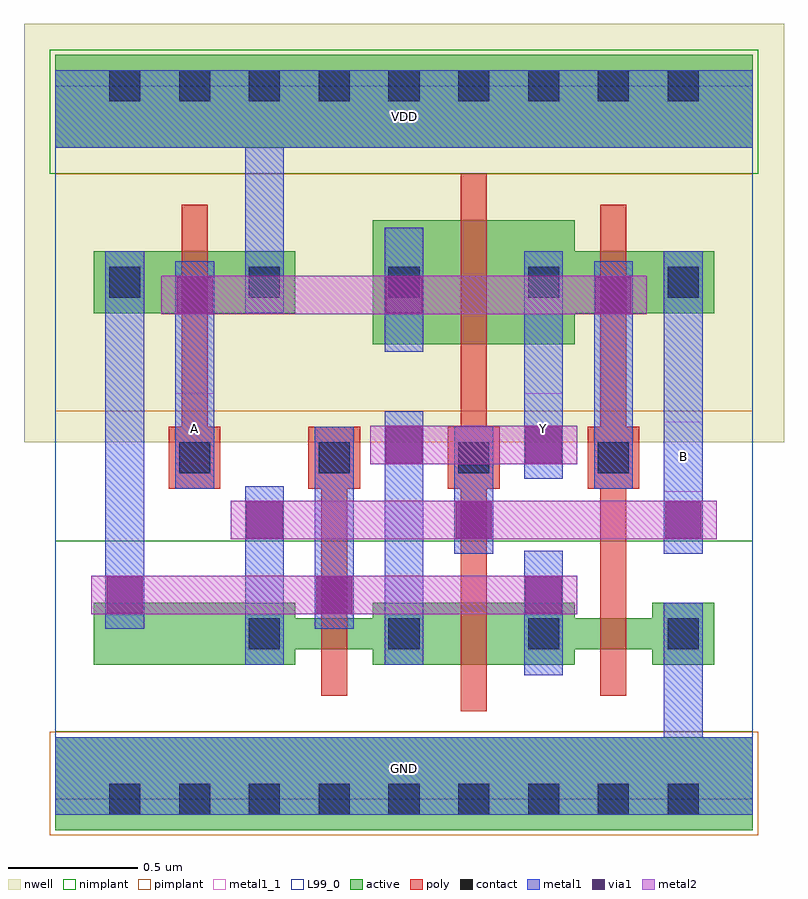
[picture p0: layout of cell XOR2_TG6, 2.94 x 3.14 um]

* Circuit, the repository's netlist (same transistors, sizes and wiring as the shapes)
* TV3_CELLS/XOR2_TG6: netlist from Virtuoso schematic
.SUBCKT XOR2_TG6 A B GND VDD Y
MMN2 Y An B GND nmos1v w=120n l=100n
MMN1 Y B An GND nmos1v w=240n l=100n
MMN0 An A GND GND nmos1v w=120n l=100n
MMP2 Y A B VDD pmos1v w=240n l=100n
MMP1 Y B A VDD pmos1v w=480n l=100n
MMP0 An A VDD VDD pmos1v w=240n l=100n
.ENDS XOR2_TG6

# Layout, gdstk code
import gdstk
lib = gdstk.Library(unit=1e-6, precision=5e-10)
def R(c, l, rs):  # rectangles x0, y0, x1, y1
    for r in rs: c.add(gdstk.rectangle(r[:2], r[2:], *l))
def A(c, l, x, y, w, h, nx, ny, dx, dy):  # array of equal rectangles
    R(c, l, [(x+i*dx, y+j*dy, x+i*dx+w, y+j*dy+h) for i in range(nx) for j in range(ny)])
active = (1, 0)
nwell = (2, 0)
poly = (3, 0)
nimplant = (4, 0)
pimplant = (5, 0)
contact = (6, 0)
metal1 = (7, 0)
metal1_1 = (7, 1)
via1 = (8, 0)
metal2 = (9, 0)
L99_0 = (99, 0)

xor2_tg6 = lib.new_cell('XOR2_TG6')
A(xor2_tg6, active, 0.15, 0.52, 0.24, 0.24, 5, 1, 0.54, 0)
R(xor2_tg6, active, [(0,-0.12,2.7,0.24), (0.39,0.52,0.69,0.76), (1.47,0.52,1.77,0.76), (0.93,0.58,1.23,0.7), (2.01,0.58,2.31,0.7), (1.23,1.76,1.47,2.24), (1.47,1.76,1.77,2.24), (1.77,1.76,2.01,2.24), (0.15,1.88,0.39,2.12), (0.39,1.88,0.69,2.12), (0.69,1.88,0.93,2.12), (2.01,1.88,2.31,2.12), (2.31,1.88,2.55,2.12), (0,2.52,2.7,2.88)])
R(xor2_tg6, nwell, [(-0.12,1.38,2.82,3)])
A(xor2_tg6, poly, 0.44, 1.2, 0.2, 0.24, 4, 1, 0.54, 0)
R(xor2_tg6, poly, [(1.57,0.34,1.67,2.42), (1.03,0.4,1.13,1.44), (2.11,0.4,2.21,2.3), (0.49,1.2,0.59,2.3)])
R(xor2_tg6, nimplant, [(0,0.26,2.7,1), (-0.02,2.42,2.72,2.9)])
R(xor2_tg6, pimplant, [(-0.02,-0.14,2.72,0.26), (0,1.5,2.7,2.42)])
A(xor2_tg6, contact, 0.21, -0.06, 0.12, 0.12, 9, 2, 0.27, 2.76)
A(xor2_tg6, contact, 0.75, 0.58, 0.12, 0.12, 4, 1, 0.54, 0)
A(xor2_tg6, contact, 0.48, 1.26, 0.12, 0.12, 4, 1, 0.54, 0)
A(xor2_tg6, contact, 0.21, 1.94, 0.12, 0.12, 5, 1, 0.54, 0)
R(xor2_tg6, metal1, [(0,-0.06,2.7,0.24), (2.355,0,2.505,0.76), (1.815,0.48,1.965,0.96), (0.735,0.52,0.885,1.21), (1.275,0.52,1.425,1.5), (0.195,0.66,0.345,2.12), (1.005,0.66,1.155,1.44), (1.545,0.95,1.695,1.44), (2.355,0.95,2.505,2.12), (0.465,1.2,0.615,2.08), (2.085,1.2,2.235,2.08), (1.815,1.24,1.965,2.12), (1.275,1.73,1.425,2.21), (0.735,1.88,0.885,2.76), (0,2.52,2.7,2.82)])
R(xor2_tg6, metal1_1, [(0,0,2.7,0.24), (2.355,1.19,2.505,1.46), (0.465,1.3,0.615,1.57), (1.815,1.3,1.965,1.57), (0,2.52,2.7,2.76)])
A(xor2_tg6, via1, 0.2, 0.72, 0.14, 0.14, 3, 1, 0.81, 0)
A(xor2_tg6, via1, 0.74, 1.01, 0.14, 0.14, 3, 1, 0.81, 0)
A(xor2_tg6, via1, 0.47, 1.88, 0.14, 0.14, 3, 1, 0.81, 0)
R(xor2_tg6, via1, [(1.28,1.3,1.42,1.44), (1.82,1.3,1.96,1.44)])
R(xor2_tg6, metal2, [(0.14,0.715,2.02,0.865), (0.68,1.005,2.56,1.155), (1.22,1.295,2.02,1.445), (0.41,1.875,2.29,2.025)])
R(xor2_tg6, L99_0, [(0,0,2.7,2.76)])
xor2_tg6.add(gdstk.Label('Y', (1.89,1.435), layer=7, texttype=3))
xor2_tg6.add(gdstk.Label('B', (2.43,1.325), layer=7, texttype=3))
xor2_tg6.add(gdstk.Label('A', (0.54,1.435), layer=7, texttype=3))
xor2_tg6.add(gdstk.Label('VDD', (1.35,2.64), layer=7, texttype=3))
xor2_tg6.add(gdstk.Label('GND', (1.35,0.12), layer=7, texttype=3))

lib.write_gds('XOR2_TG6.gds')
